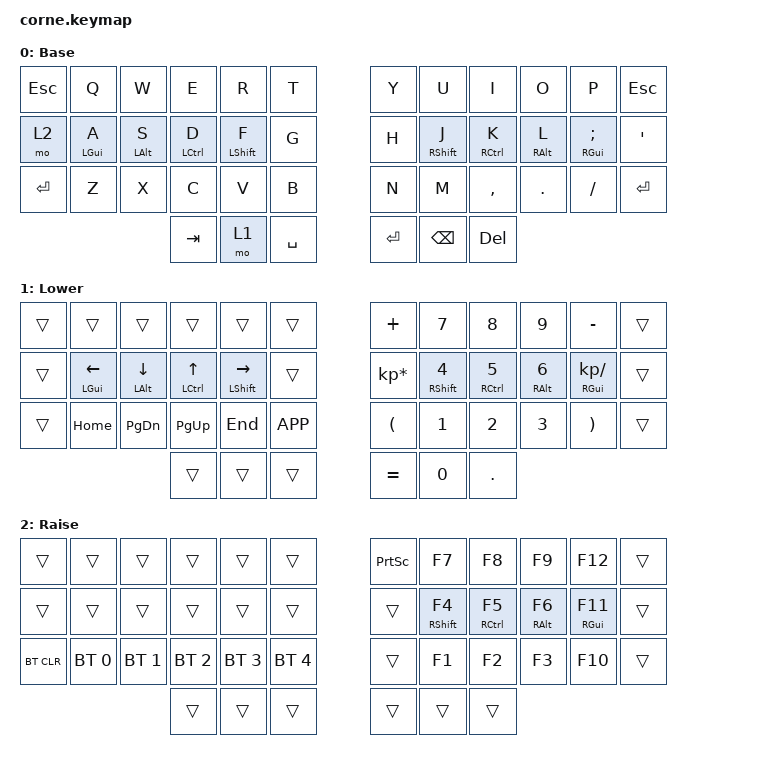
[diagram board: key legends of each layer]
/*
 * Copyright (c) 2020 The ZMK Contributors
 *
 * SPDX-License-Identifier: MIT
 */

#include <behaviors.dtsi>
#include <dt-bindings/zmk/keys.h>
#include <dt-bindings/zmk/bt.h>

/ {    
        behaviors {
                hm: homerow_mods {
                    compatible = "zmk,behavior-hold-tap";
                    label = "HOMEROW_MODS";
                    #binding-cells = <2>;
                    tapping-term-ms = <200>;
                    quick-tap-ms = <0>;
                    flavor = "tap-preferred";
                    bindings = <&kp>, <&kp>;
                };
            };
        keymap {
                compatible = "zmk,keymap";

                default_layer {
// -----------------------------------------------------------------------------------------
// | ESC |  Q  |  W  |  E  |  R  |  T  |   |  Y  |  U   |  I  |  O  |  P  | ESC |
// | RSE |  A  |  S  |  D  |  F  |  G  |   |  H  |  J   |  K  |  L  |  ;  |  '  |
// | RET |  Z  |  X  |  C  |  V  |  B  |   |  N  |  M   |  ,  |  .  |  /  | RET |
//                   | TAB | LWR | SPC |   | BKSP| RSE | RET |
                        label = "Base";
                        bindings = <
   &kp ESC   &kp Q       &kp W        &kp E        &kp R            &kp T               &kp Y     &kp U         &kp I        &kp O       &kp P         &kp ESC
   &mo 2     &hm LGUI A  &hm LALT S   &hm LCTRL D  &hm LSHIFT F     &kp G               &kp H     &hm RSHIFT J  &hm RCTRL K  &hm RALT L  &hm RGUI SEMI &kp SQT
   &kp RET   &kp Z       &kp X        &kp C        &kp V            &kp B               &kp N     &kp M         &kp COMMA    &kp DOT     &kp FSLH      &kp RET
                                          &kp TAB      &mo 1        &kp SPACE           &kp RET   &kp BSPC      &kp DEL
                        >;
                };
                lower_layer {
// -----------------------------------------------------------------------------------------
// |  TAB |  1  |  2  |  3  |  4  |  5  |   |  6  |  7  |  8  |  9  |  0  | BKSP |
// | BTCLR| BT1 | BT2 | BT3 | BT4 | BT5 |   | LFT | DWN |  UP | RGT |     |      |
// | SHFT |     |     |     |     |     |   |     |     |     |     |     |      |
//                    | GUI |     | SPC |   | ENT |     | ALT |
                        label = "Lower";
                        bindings = <
   &trans    &trans         &trans         &trans        &trans            &trans          &kp PLUS         &kp N7         &kp N8        &kp N9        &kp MINUS          &trans
   &trans    &hm LGUI LEFT  &hm LALT DOWN  &hm LCTRL UP  &hm LSHIFT RIGHT  &trans          &kp KP_MULTIPLY  &hm RSHIFT N4  &hm RCTRL N5  &hm RALT N6   &hm RGUI KP_DIVIDE &trans
   &trans    &kp HOME       &kp PG_DN      &kp PG_UP     &kp END           &kp K_APP       &kp LPAR         &kp N1         &kp N2        &kp N3        &kp RPAR           &trans
                                           &trans        &trans            &trans          &kp EQUAL        &kp N0         &kp DOT
                        >;
                };

                raise_layer {
// -----------------------------------------------------------------------------------------
// |  TAB |  !  |  @  |  #  |  $  |  %  |   |  ^  |  &  |  *  |  (  |  )  | BKSP |
// | BTCLR| BT1 | BT2 | BT3 | BT4 | BT5 |   |  -  |  =  |  [  |  ]  |  \  |  `   |
// | BTCLR| BT1 | BT2 | BT3 | BT4 | BT5 |   |  _  |  +  |  {  |  }  | "|" |  ~   |
//                    | GUI |     | SPC |   | ENT |     | ALT |
                        label = "Raise";
                        bindings = <
   &trans      &trans        &trans        &trans        &trans        &trans              &kp PSCRN   &kp F7         &kp F8        &kp F9        &kp F12          &trans
   &trans      &trans        &trans        &trans        &trans        &trans              &trans      &hm RSHIFT F4  &hm RCTRL F5  &hm RALT F6   &hm RGUI F11     &trans
   &bt BT_CLR  &bt BT_SEL 0  &bt BT_SEL 1  &bt BT_SEL 2  &bt BT_SEL 3  &bt BT_SEL 4        &trans      &kp F1         &kp F2        &kp F3        &kp F10          &trans
                    	                   &trans        &trans        &trans              &trans      &trans         &trans
                        >;
                };
        };
};
